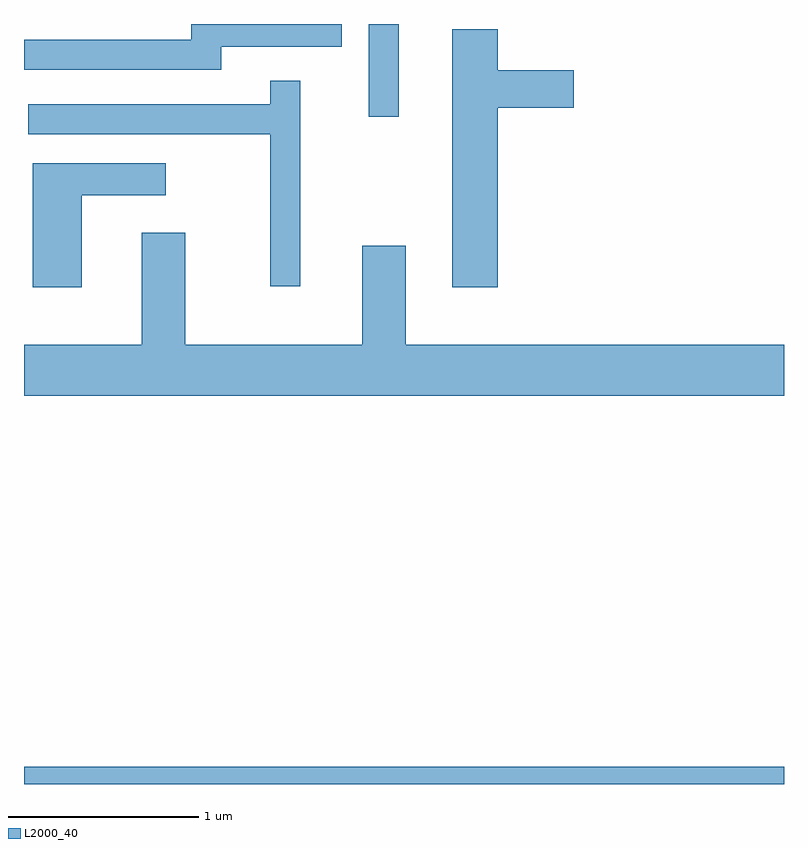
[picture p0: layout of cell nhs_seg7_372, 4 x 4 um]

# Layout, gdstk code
import gdstk
lib = gdstk.Library(unit=1e-6, precision=1e-09)
def R(c, l, rs):  # rectangles x0, y0, x1, y1
    for r in rs: c.add(gdstk.rectangle(r[:2], r[2:], *l))
def P(c, l, *ps):  # polygons
    for p in ps: c.add(gdstk.Polygon(p, *l))
L2000_40 = (2000, 40)

nhs_seg7_372 = lib.new_cell('nhs_seg7_372')
R(nhs_seg7_372, L2000_40, [(195.611,1732.252,199.611,1732.344), (197.426,1735.763,197.584,1736.252)])
P(nhs_seg7_372, L2000_40, [(196.649,1736.131),(197.283,1736.131),(197.283,1736.252),(196.491,1736.252),(196.491,1736.169),(195.611,1736.169),(195.611,1736.011),(196.649,1736.011)],
  [(198.104,1735.811),(198.504,1735.811),(198.504,1736.009),(198.104,1736.009),(198.104,1736.224),(197.866,1736.224),(197.866,1734.866),(198.104,1734.866)],
  [(197.064,1735.953),(196.906,1735.953),(196.906,1735.829),(195.633,1735.829),(195.633,1735.671),(196.906,1735.671),(196.906,1734.873),(197.064,1734.873)],
  [(195.914,1735.351),(196.358,1735.351),(196.358,1735.519),(195.656,1735.519),(195.656,1734.866),(195.914,1734.866)],
  [(199.611,1734.564),(197.619,1734.564),(197.619,1735.084),(197.391,1735.084),(197.391,1734.564),(196.459,1734.564),(196.459,1735.154),(196.231,1735.154),(196.231,1734.564),(195.611,1734.564),(195.611,1734.296),(199.611,1734.296)])

lib.write_gds('nhs_seg7_372.gds')
